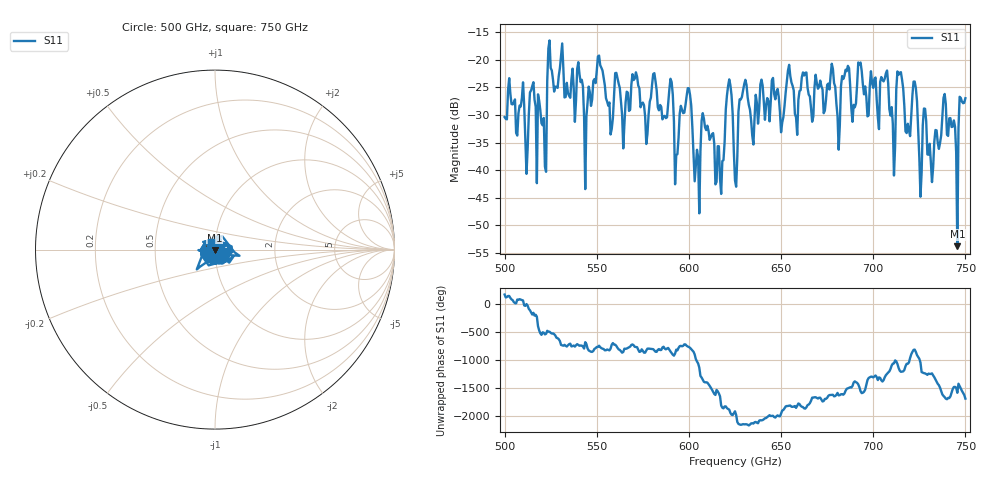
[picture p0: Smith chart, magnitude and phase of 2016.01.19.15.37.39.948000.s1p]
!Created with skrf (http://scikit-rf.org).
# GHz S RI R 50.0
!freq ReS11 ImS11
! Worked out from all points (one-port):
!   401 points, 500 GHz to 750 GHz, reference 50 ohm
!   lowest |S11| = -53.8 dB at 745.6 GHz (marker M1), VSWR 1.00, Z = 49.8 - j0.134 ohm
!   |S11| at or under -10 dB: start of sweep to end of sweep
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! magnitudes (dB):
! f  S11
! 500 GHz  -30.4
! 515 GHz  -24.8
! 521.2 GHz  -30.5
! 524.4 GHz  -16.5
! 531.2 GHz  -17.0
! 543.8 GHz  -43.4
! 551.2 GHz  -19.2
! 562.5 GHz  -25.1
! 590 GHz  -23.4
! 593.8 GHz  -37.1
! 600 GHz  -25.2
! 604.4 GHz  -36.3
! 608.1 GHz  -30.7
! 618.1 GHz  -38.4
! 621.9 GHz  -23.5
! 625 GHz  -41.9
! 630 GHz  -24.4
! 656.2 GHz  -24.7
! 687.5 GHz  -24.8
! 706.9 GHz  -22.4
! 710.6 GHz  -31.6
! 714.4 GHz  -22.3
! 718.8 GHz  -31.6
! 722.5 GHz  -23.9
! 725.6 GHz  -44.8
! 738.1 GHz  -26.9
! 745.6 GHz  -53.8
! 750 GHz  -27.0
